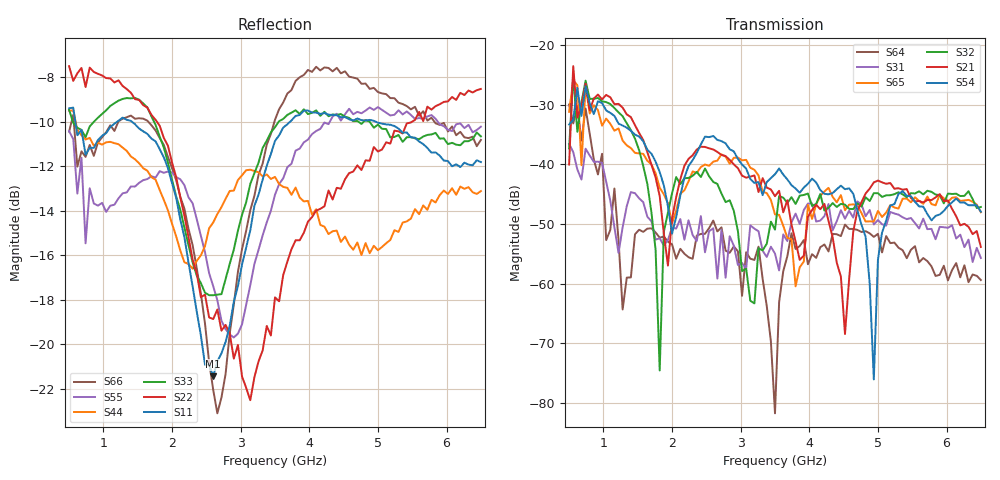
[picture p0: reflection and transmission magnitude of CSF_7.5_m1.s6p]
!Keysight Technologies,M9804A,MY58100912,A.14.10.03
!Date: Thursday, April 27, 2023 10:28:33
!Correction: S11(C  6-Port  )
!S12(C  6-Port  )
!S13(C  6-Port  )
!S14(C  6-Port  )
!S15(C  6-Port  )
!S16(C  6-Port  )
!S21(C  6-Port  )
!S22(C  6-Port  )
!S23(C  6-Port  )
!S24(C  6-Port  )
!S25(C  6-Port  )
!S26(C  6-Port  )
!S31(C  6-Port  )
!S32(C  6-Port  )
!S33(C  6-Port  )
!S34(C  6-Port  )
!S35(C  6-Port  )
!S36(C  6-Port  )
!S41(C  6-Port  )
!S42(C  6-Port  )
!S43(C  6-Port  )
!S44(C  6-Port  )
!S45(C  6-Port  )
!S46(C  6-Port  )
!S51(C  6-Port  )
!S52(C  6-Port  )
!S53(C  6-Port  )
!S54(C  6-Port  )
!S55(C  6-Port  )
!S56(C  6-Port  )
!S61(C  6-Port  )
!S62(C  6-Port  )
!S63(C  6-Port  )
!S64(C  6-Port  )
!S65(C  6-Port  )
!S66(C  6-Port  )
!S6P File: Measurement: :
# Hz S  RI  R 50
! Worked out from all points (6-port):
!   101 points, 500 MHz to 6.5 GHz, reference 50 ohm
!   strongest paths, dB at 500 MHz, 2 GHz, 3.5 GHz, 5 GHz, 6.5 GHz:
!     S54: -33.3, -51.6, -41.7, -56.0, -48.0
!     S21: -40.0, -49.1, -45.3, -42.7, -53.9
!     S32: -37.3, -44.9, -50.9, -44.8, -47.2
!     S65: -31.2, -49.9, -48.4, -47.8, -48.0
!     S31: -36.6, -50.6, -55.0, -49.3, -55.7
!     S64: -30.0, -53.4, -81.7, -51.7, -59.4
!   lowest |S11| = -21.4 dB at 2.6 GHz (marker M1), VSWR 1.19, Z = 42.5 + j2.22 ohm
!   |S11| at or under -10 dB: 591.1 MHz to 1.196 GHz (604.6 MHz wide, 67.7 % of centre); 1.42 GHz to 3.716 GHz (2.297 GHz wide, 89.4 % of centre); 4.976 GHz to end of sweep
